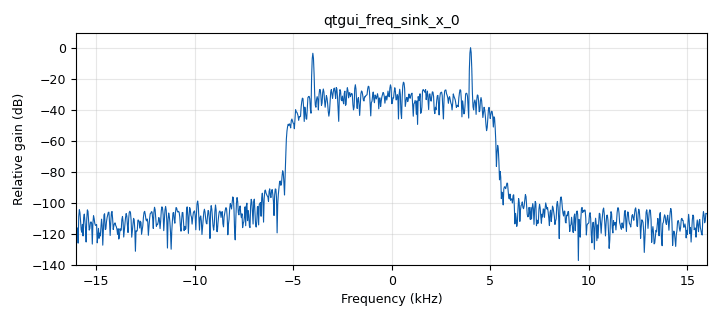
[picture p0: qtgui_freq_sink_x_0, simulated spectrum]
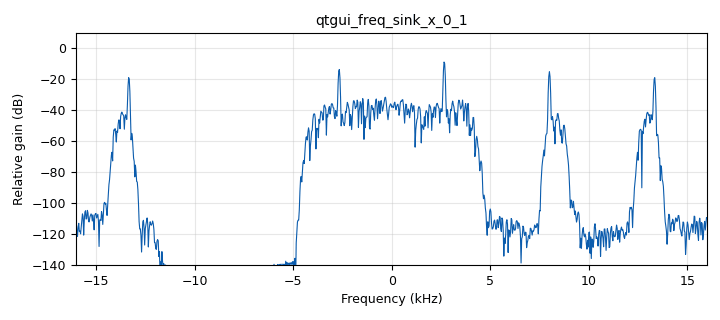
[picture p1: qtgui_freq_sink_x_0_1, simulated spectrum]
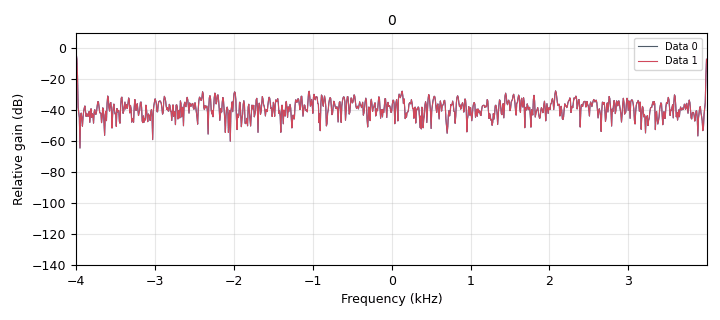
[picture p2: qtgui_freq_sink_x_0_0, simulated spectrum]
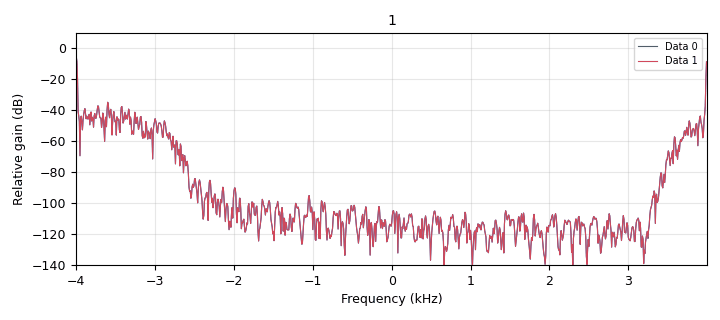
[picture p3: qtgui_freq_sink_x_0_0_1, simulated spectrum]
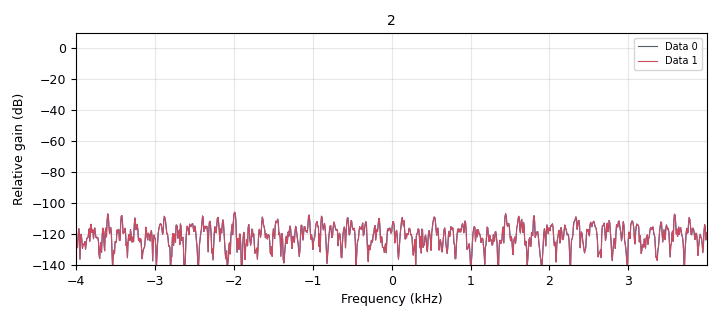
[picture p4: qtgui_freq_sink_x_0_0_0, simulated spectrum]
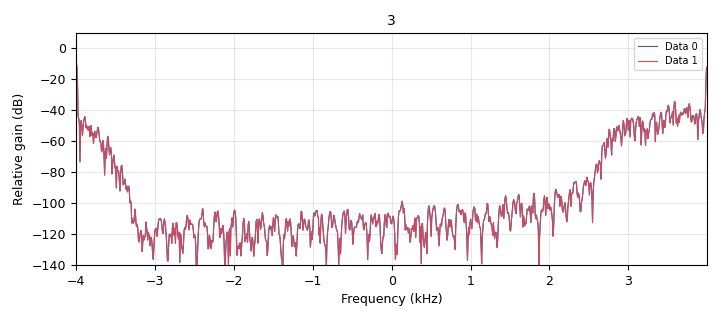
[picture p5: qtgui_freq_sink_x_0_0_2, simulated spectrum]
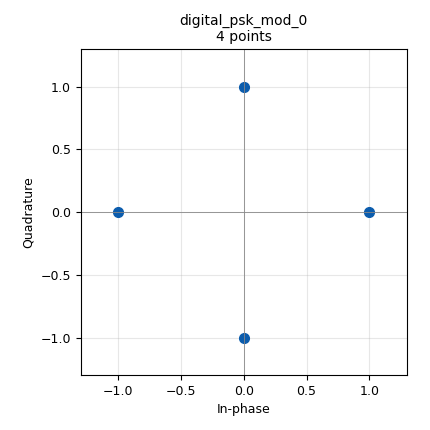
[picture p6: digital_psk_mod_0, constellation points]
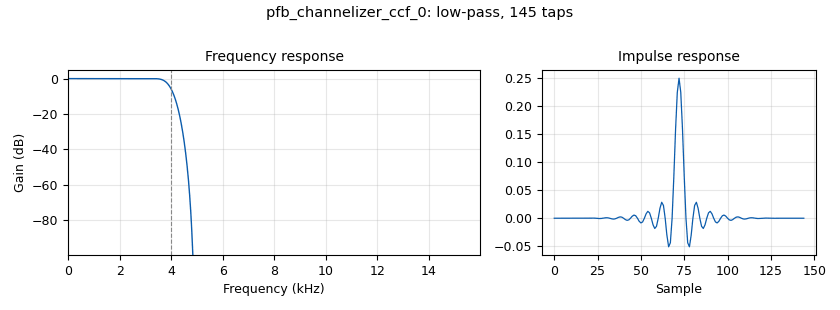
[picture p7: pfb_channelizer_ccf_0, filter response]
<?xml version='1.0' encoding='utf-8'?>
<?grc format='1' created='3.7.6'?>
<flow_graph>
<block>
<key>options</key>
<param><key>id</key><value>top_block</value></param>
<param><key>generate_options</key><value>qt_gui</value></param>
<param><key>category</key><value>Custom</value></param>
</block>
<block>
<key>variable</key>
<param><key>id</key><value>dec_taps</value></param>
<param><key>value</key><value>firdes.low_pass_2(1,samp_rate,samp_rate/8,samp_rate/40,80,5 )</value></param>
</block>
<block>
<key>variable</key>
<param><key>id</key><value>samp_rate</value></param>
<param><key>value</key><value>32000</value></param>
</block>
<block>
<key>variable</key>
<param><key>id</key><value>synth_taps</value></param>
<param><key>value</key><value>firdes.low_pass_2(2, samp_rate, samp_rate/8,samp_rate/40,80,5 )</value></param>
</block>
<block>
<key>analog_random_source_x</key>
<param><key>id</key><value>analog_random_source_x_0</value></param>
<param><key>type</key><value>byte</value></param>
<param><key>min</key><value>0</value></param>
<param><key>max</key><value>256</value></param>
<param><key>num_samps</key><value>1000</value></param>
<param><key>repeat</key><value>True</value></param>
</block>
<block>
<key>digital_psk_mod</key>
<param><key>id</key><value>digital_psk_mod_0</value></param>
<param><key>constellation_points</key><value>4</value></param>
<param><key>mod_code</key><value>"gray"</value></param>
<param><key>differential</key><value>True</value></param>
<param><key>samples_per_symbol</key><value>4</value></param>
<param><key>excess_bw</key><value>0.35</value></param>
</block>
<block>
<key>blocks_throttle</key>
<param><key>id</key><value>blocks_throttle_0</value></param>
<param><key>type</key><value>complex</value></param>
<param><key>samples_per_second</key><value>samp_rate</value></param>
</block>
<block>
<key>pfb_channelizer_ccf</key>
<param><key>id</key><value>pfb_channelizer_ccf_0</value></param>
<param><key>nchans</key><value>4</value></param>
<param><key>taps</key><value>dec_taps</value></param>
<param><key>osr</key><value>1.0</value></param>
<param><key>atten</key><value>80</value></param>
<param><key>ch_map</key><value>[]</value></param>
<param><key>bus_conns</key><value>[[0,],]</value></param>
</block>
<block>
<key>qtgui_freq_sink_x</key>
<param><key>id</key><value>qtgui_freq_sink_x_0</value></param>
<param><key>type</key><value>complex</value></param>
<param><key>fftsize</key><value>1024</value></param>
<param><key>wintype</key><value>firdes.WIN_BLACKMAN_hARRIS</value></param>
<param><key>fc</key><value>0</value></param>
<param><key>bw</key><value>samp_rate</value></param>
<param><key>grid</key><value>True</value></param>
<param><key>gui_hint</key><value>3,0,1,2</value></param>
<param><key>showports</key><value>True</value></param>
</block>
<block>
<key>qtgui_freq_sink_x</key>
<param><key>id</key><value>qtgui_freq_sink_x_0_1</value></param>
<param><key>type</key><value>complex</value></param>
<param><key>fftsize</key><value>1024</value></param>
<param><key>wintype</key><value>firdes.WIN_BLACKMAN_hARRIS</value></param>
<param><key>fc</key><value>0</value></param>
<param><key>bw</key><value>samp_rate</value></param>
<param><key>grid</key><value>True</value></param>
<param><key>gui_hint</key><value>4,0,1,2</value></param>
<param><key>showports</key><value>True</value></param>
</block>
<block>
<key>blocks_add_xx</key>
<param><key>id</key><value>blocks_add_xx_0</value></param>
<param><key>type</key><value>complex</value></param>
<param><key>num_inputs</key><value>3</value></param>
</block>
<block>
<key>pfb_decimator_ccf</key>
<param><key>id</key><value>pfb_decimator_ccf_0</value></param>
<param><key>decim</key><value>4</value></param>
<param><key>taps</key><value>dec_taps</value></param>
<param><key>channel</key><value>0</value></param>
<param><key>atten</key><value>80</value></param>
</block>
<block>
<key>pfb_decimator_ccf</key>
<param><key>id</key><value>pfb_decimator_ccf_0_2</value></param>
<param><key>decim</key><value>4</value></param>
<param><key>taps</key><value>dec_taps</value></param>
<param><key>channel</key><value>1</value></param>
<param><key>atten</key><value>80</value></param>
</block>
<block>
<key>pfb_decimator_ccf</key>
<param><key>id</key><value>pfb_decimator_ccf_0_1</value></param>
<param><key>decim</key><value>4</value></param>
<param><key>taps</key><value>dec_taps</value></param>
<param><key>channel</key><value>2</value></param>
<param><key>atten</key><value>80</value></param>
</block>
<block>
<key>pfb_decimator_ccf</key>
<param><key>id</key><value>pfb_decimator_ccf_0_0</value></param>
<param><key>decim</key><value>4</value></param>
<param><key>taps</key><value>dec_taps</value></param>
<param><key>channel</key><value>3</value></param>
<param><key>atten</key><value>80</value></param>
</block>
<block>
<key>qtgui_freq_sink_x</key>
<param><key>id</key><value>qtgui_freq_sink_x_0_0</value></param>
<param><key>type</key><value>complex</value></param>
<param><key>name</key><value>"0"</value></param>
<param><key>fftsize</key><value>1024</value></param>
<param><key>wintype</key><value>firdes.WIN_BLACKMAN_hARRIS</value></param>
<param><key>fc</key><value>0</value></param>
<param><key>bw</key><value>samp_rate/4</value></param>
<param><key>grid</key><value>True</value></param>
<param><key>nconnections</key><value>2</value></param>
<param><key>gui_hint</key><value>1,0,1,1</value></param>
<param><key>showports</key><value>True</value></param>
<param><key>label2</key><value></value></param>
</block>
<block>
<key>qtgui_freq_sink_x</key>
<param><key>id</key><value>qtgui_freq_sink_x_0_0_1</value></param>
<param><key>type</key><value>complex</value></param>
<param><key>name</key><value>"1"</value></param>
<param><key>fftsize</key><value>1024</value></param>
<param><key>wintype</key><value>firdes.WIN_BLACKMAN_hARRIS</value></param>
<param><key>fc</key><value>0</value></param>
<param><key>bw</key><value>samp_rate/4</value></param>
<param><key>grid</key><value>True</value></param>
<param><key>nconnections</key><value>2</value></param>
<param><key>gui_hint</key><value>1,1,1,1</value></param>
<param><key>showports</key><value>True</value></param>
<param><key>label2</key><value></value></param>
</block>
<block>
<key>qtgui_freq_sink_x</key>
<param><key>id</key><value>qtgui_freq_sink_x_0_0_0</value></param>
<param><key>type</key><value>complex</value></param>
<param><key>name</key><value>"2"</value></param>
<param><key>fftsize</key><value>1024</value></param>
<param><key>wintype</key><value>firdes.WIN_BLACKMAN_hARRIS</value></param>
<param><key>fc</key><value>0</value></param>
<param><key>bw</key><value>samp_rate/4</value></param>
<param><key>grid</key><value>True</value></param>
<param><key>nconnections</key><value>2</value></param>
<param><key>gui_hint</key><value>2,0,1,1</value></param>
<param><key>showports</key><value>True</value></param>
<param><key>label2</key><value></value></param>
</block>
<block>
<key>qtgui_freq_sink_x</key>
<param><key>id</key><value>qtgui_freq_sink_x_0_0_2</value></param>
<param><key>type</key><value>complex</value></param>
<param><key>name</key><value>"3"</value></param>
<param><key>fftsize</key><value>1024</value></param>
<param><key>wintype</key><value>firdes.WIN_BLACKMAN_hARRIS</value></param>
<param><key>fc</key><value>0</value></param>
<param><key>bw</key><value>samp_rate/4</value></param>
<param><key>grid</key><value>True</value></param>
<param><key>nconnections</key><value>2</value></param>
<param><key>gui_hint</key><value>2,1,1,1</value></param>
<param><key>showports</key><value>True</value></param>
<param><key>label2</key><value></value></param>
</block>
<block>
<key>variable_qtgui_range</key>
<param><key>id</key><value>freq</value></param>
<param><key>value</key><value>0</value></param>
<param><key>start</key><value>-samp_rate/2</value></param>
<param><key>stop</key><value>samp_rate/2</value></param>
<param><key>step</key><value>4000</value></param>
<param><key>widget</key><value>slider</value></param>
<param><key>orient</key><value>Qt.Vertical</value></param>
<param><key>gui_hint</key><value>1,2,3,1</value></param>
</block>
<block>
<key>analog_sig_source_x</key>
<param><key>id</key><value>analog_sig_source_x_0_0</value></param>
<param><key>type</key><value>complex</value></param>
<param><key>samp_rate</key><value>samp_rate</value></param>
<param><key>waveform</key><value>analog.GR_COS_WAVE</value></param>
<param><key>freq</key><value>freq+4000</value></param>
<param><key>amp</key><value>3</value></param>
<param><key>offset</key><value>0</value></param>
</block>
<block>
<key>analog_sig_source_x</key>
<param><key>id</key><value>analog_sig_source_x_0</value></param>
<param><key>type</key><value>complex</value></param>
<param><key>samp_rate</key><value>samp_rate</value></param>
<param><key>waveform</key><value>analog.GR_COS_WAVE</value></param>
<param><key>freq</key><value>freq-4000</value></param>
<param><key>amp</key><value>2</value></param>
<param><key>offset</key><value>0</value></param>
</block>
<block>
<key>pfb_synthesizer_ccf</key>
<param><key>id</key><value>pfb_synthesizer_ccf_0</value></param>
<param><key>numchans</key><value>6</value></param>
<param><key>connections</key><value>4</value></param>
<param><key>taps</key><value>synth_taps</value></param>
<param><key>twox</key><value>False</value></param>
<param><key>ch_map</key><value>[0,1,2,3,4,5]</value></param>
<param><key>bus_conns</key><value>[[0,],]</value></param>
</block>
<connection><source_block_id>pfb_decimator_ccf_0</source_block_id><sink_block_id>qtgui_freq_sink_x_0_0</sink_block_id><source_key>0</source_key><sink_key>0</sink_key></connection>
<connection><source_block_id>pfb_decimator_ccf_0_0</source_block_id><sink_block_id>qtgui_freq_sink_x_0_0_2</sink_block_id><source_key>0</source_key><sink_key>0</sink_key></connection>
<connection><source_block_id>pfb_decimator_ccf_0_1</source_block_id><sink_block_id>qtgui_freq_sink_x_0_0_0</sink_block_id><source_key>0</source_key><sink_key>0</sink_key></connection>
<connection><source_block_id>pfb_decimator_ccf_0_2</source_block_id><sink_block_id>qtgui_freq_sink_x_0_0_1</sink_block_id><source_key>0</source_key><sink_key>0</sink_key></connection>
<connection><source_block_id>digital_psk_mod_0</source_block_id><sink_block_id>blocks_add_xx_0</sink_block_id><source_key>0</source_key><sink_key>0</sink_key></connection>
<connection><source_block_id>blocks_add_xx_0</source_block_id><sink_block_id>qtgui_freq_sink_x_0</sink_block_id><source_key>0</source_key><sink_key>0</sink_key></connection>
<connection><source_block_id>blocks_add_xx_0</source_block_id><sink_block_id>pfb_decimator_ccf_0</sink_block_id><source_key>0</source_key><sink_key>0</sink_key></connection>
<connection><source_block_id>blocks_add_xx_0</source_block_id><sink_block_id>pfb_decimator_ccf_0_2</sink_block_id><source_key>0</source_key><sink_key>0</sink_key></connection>
<connection><source_block_id>blocks_add_xx_0</source_block_id><sink_block_id>pfb_decimator_ccf_0_1</sink_block_id><source_key>0</source_key><sink_key>0</sink_key></connection>
<connection><source_block_id>blocks_add_xx_0</source_block_id><sink_block_id>pfb_decimator_ccf_0_0</sink_block_id><source_key>0</source_key><sink_key>0</sink_key></connection>
<connection><source_block_id>analog_random_source_x_0</source_block_id><sink_block_id>digital_psk_mod_0</sink_block_id><source_key>0</source_key><sink_key>0</sink_key></connection>
<connection><source_block_id>analog_sig_source_x_0</source_block_id><sink_block_id>blocks_throttle_0</sink_block_id><source_key>0</source_key><sink_key>0</sink_key></connection>
<connection><source_block_id>blocks_throttle_0</source_block_id><sink_block_id>blocks_add_xx_0</sink_block_id><source_key>0</source_key><sink_key>1</sink_key></connection>
<connection><source_block_id>blocks_add_xx_0</source_block_id><sink_block_id>pfb_channelizer_ccf_0</sink_block_id><source_key>0</source_key><sink_key>0</sink_key></connection>
<connection><source_block_id>pfb_channelizer_ccf_0</source_block_id><sink_block_id>qtgui_freq_sink_x_0_0</sink_block_id><source_key>0</source_key><sink_key>1</sink_key></connection>
<connection><source_block_id>pfb_channelizer_ccf_0</source_block_id><sink_block_id>qtgui_freq_sink_x_0_0_1</sink_block_id><source_key>1</source_key><sink_key>1</sink_key></connection>
<connection><source_block_id>pfb_channelizer_ccf_0</source_block_id><sink_block_id>qtgui_freq_sink_x_0_0_0</sink_block_id><source_key>2</source_key><sink_key>1</sink_key></connection>
<connection><source_block_id>pfb_channelizer_ccf_0</source_block_id><sink_block_id>qtgui_freq_sink_x_0_0_2</sink_block_id><source_key>3</source_key><sink_key>1</sink_key></connection>
<connection><source_block_id>pfb_channelizer_ccf_0</source_block_id><sink_block_id>pfb_synthesizer_ccf_0</sink_block_id><source_key>0</source_key><sink_key>0</sink_key></connection>
<connection><source_block_id>pfb_channelizer_ccf_0</source_block_id><sink_block_id>pfb_synthesizer_ccf_0</sink_block_id><source_key>1</source_key><sink_key>1</sink_key></connection>
<connection><source_block_id>pfb_channelizer_ccf_0</source_block_id><sink_block_id>pfb_synthesizer_ccf_0</sink_block_id><source_key>2</source_key><sink_key>2</sink_key></connection>
<connection><source_block_id>pfb_channelizer_ccf_0</source_block_id><sink_block_id>pfb_synthesizer_ccf_0</sink_block_id><source_key>3</source_key><sink_key>3</sink_key></connection>
<connection><source_block_id>pfb_synthesizer_ccf_0</source_block_id><sink_block_id>qtgui_freq_sink_x_0_1</sink_block_id><source_key>0</source_key><sink_key>0</sink_key></connection>
<connection><source_block_id>analog_sig_source_x_0_0</source_block_id><sink_block_id>blocks_add_xx_0</sink_block_id><source_key>0</source_key><sink_key>2</sink_key></connection>
</flow_graph>
